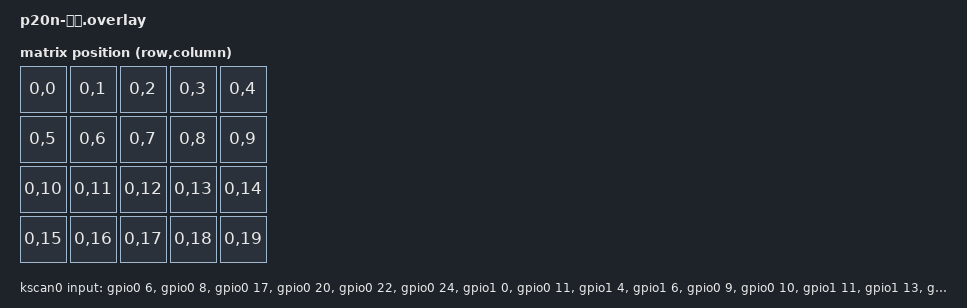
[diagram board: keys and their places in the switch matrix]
/*
 * Copyright (c) 2020 The ZMK Contributors
 *
 * SPDX-License-Identifier: MIT
 */

#include <dt-bindings/zmk/matrix_transform.h>

/ {
    chosen {
        zmk,kscan = &kscan0;
        zmk,matrix-transform = &default_transform;
    };

    kscan0: kscan {
        compatible = "zmk,kscan-gpio-direct";
        label = "KSCAN";
        input-gpios
            = <&gpio0 6  (GPIO_ACTIVE_LOW | GPIO_PULL_UP)>
            , <&gpio0 8  (GPIO_ACTIVE_LOW | GPIO_PULL_UP)>
            , <&gpio0 17 (GPIO_ACTIVE_LOW | GPIO_PULL_UP)>
            , <&gpio0 20 (GPIO_ACTIVE_LOW | GPIO_PULL_UP)>
            
            , <&gpio0 22 (GPIO_ACTIVE_LOW | GPIO_PULL_UP)>
            , <&gpio0 24 (GPIO_ACTIVE_LOW | GPIO_PULL_UP)>
            , <&gpio1 0  (GPIO_ACTIVE_LOW | GPIO_PULL_UP)>
            , <&gpio0 11 (GPIO_ACTIVE_LOW | GPIO_PULL_UP)>
            
            , <&gpio1 4  (GPIO_ACTIVE_LOW | GPIO_PULL_UP)>
            , <&gpio1 6  (GPIO_ACTIVE_LOW | GPIO_PULL_UP)>
            , <&gpio0 9  (GPIO_ACTIVE_LOW | GPIO_PULL_UP)>
            , <&gpio0 10 (GPIO_ACTIVE_LOW | GPIO_PULL_UP)>
            
            , <&gpio1 11 (GPIO_ACTIVE_LOW | GPIO_PULL_UP)>
            , <&gpio1 13 (GPIO_ACTIVE_LOW | GPIO_PULL_UP)>
            , <&gpio1 15 (GPIO_ACTIVE_LOW | GPIO_PULL_UP)>
            , <&gpio0 2  (GPIO_ACTIVE_LOW | GPIO_PULL_UP)>

            , <&gpio0 29 (GPIO_ACTIVE_LOW | GPIO_PULL_UP)>
            , <&gpio0 31 (GPIO_ACTIVE_LOW | GPIO_PULL_UP)>
            , <&gpio1 1  (GPIO_ACTIVE_LOW | GPIO_PULL_UP)>
            , <&gpio1 2  (GPIO_ACTIVE_LOW | GPIO_PULL_UP)>
            ;
    };

    default_transform: keymap_transform_0 {
        compatible = "zmk,matrix-transform";
        rows = <1>;    // 直连方式只有1行
        columns = <20>; // 总共20个按键
        map = <
            RC(0,0)  RC(0,1)  RC(0,2)  RC(0,3)  RC(0,4)    // 前5个按键
            RC(0,5)  RC(0,6)  RC(0,7)  RC(0,8)  RC(0,9)    // 第6-10个按键
            RC(0,10) RC(0,11) RC(0,12) RC(0,13) RC(0,14)   // 第11-15个按键  
            RC(0,15) RC(0,16) RC(0,17) RC(0,18) RC(0,19)   // 第16-20个按键
        >;
    };
};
